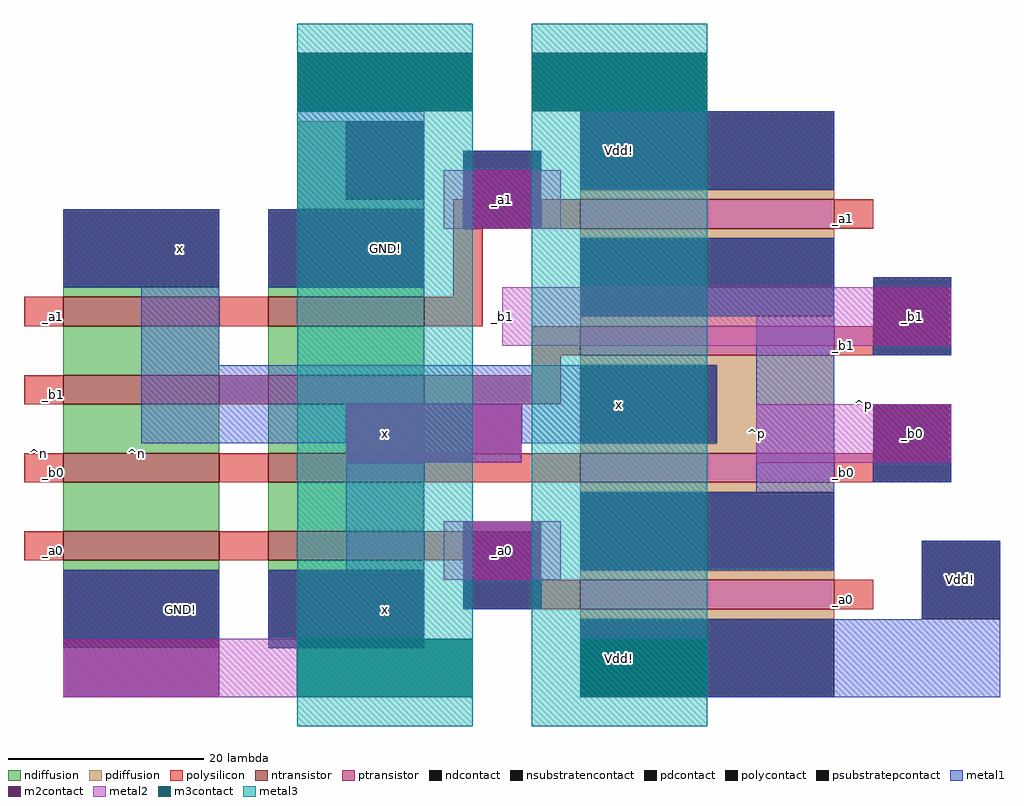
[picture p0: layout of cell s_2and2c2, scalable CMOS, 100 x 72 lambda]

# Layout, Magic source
magic
tech scmos
<< ndiffusion >>
rect -21 142 -16 150
rect -21 141 -8 142
rect -45 132 -29 133
rect -24 132 -8 133
rect -45 124 -29 129
rect -24 124 -8 129
rect -45 116 -29 121
rect -24 116 -8 121
rect -45 108 -29 113
rect -24 108 -8 113
rect -45 104 -29 105
rect -24 104 -8 105
<< pdiffusion >>
rect 8 142 34 143
rect 8 138 34 139
rect 8 129 34 130
rect 8 125 34 126
rect 22 117 34 125
rect 8 116 34 117
rect 8 112 34 113
rect 8 103 34 104
rect 8 99 34 100
<< ntransistor >>
rect -45 129 -29 132
rect -24 129 -8 132
rect -45 121 -29 124
rect -24 121 -8 124
rect -45 113 -29 116
rect -24 113 -8 116
rect -45 105 -29 108
rect -24 105 -8 108
<< ptransistor >>
rect 8 139 34 142
rect 8 126 34 129
rect 8 113 34 116
rect 8 100 34 103
<< polysilicon >>
rect -5 139 -4 142
rect 4 139 8 142
rect 34 139 38 142
rect -5 132 -2 139
rect -49 129 -45 132
rect -29 129 -24 132
rect -8 129 -2 132
rect 3 126 8 129
rect 34 126 38 129
rect 3 124 6 126
rect -49 121 -45 124
rect -29 121 -24 124
rect -8 121 6 124
rect -49 113 -45 116
rect -29 113 -24 116
rect -8 113 8 116
rect 34 113 38 116
rect -49 105 -45 108
rect -29 105 -24 108
rect -8 105 -4 108
rect 4 100 8 103
rect 34 100 38 103
<< ndcontact >>
rect -45 133 -29 141
rect -24 133 -8 141
rect -45 96 -29 104
rect -24 96 -8 104
<< pdcontact >>
rect 8 143 34 151
rect 8 130 34 138
rect 8 117 22 125
rect 8 104 34 112
rect 8 91 34 99
<< psubstratepcontact >>
rect -16 142 -8 150
<< nsubstratencontact >>
rect 43 99 51 107
<< polycontact >>
rect -4 139 4 147
rect 38 126 46 134
rect 38 113 46 121
rect -4 100 4 108
<< metal1 >>
rect -21 141 -8 151
rect -45 133 -29 141
rect -24 133 -8 141
rect -4 145 4 147
rect 8 143 34 151
rect -37 125 -29 133
rect 8 130 34 138
rect -37 121 22 125
rect -37 117 -16 121
rect 2 117 22 121
rect -16 104 -8 115
rect 26 112 34 130
rect 38 133 46 134
rect 38 126 46 127
rect 38 113 46 115
rect -45 97 -29 104
rect -24 96 -8 104
rect 8 104 34 112
rect -4 100 4 103
rect 43 99 51 107
rect 8 97 51 99
rect 21 91 51 97
<< m2contact >>
rect -21 151 -3 157
rect 3 151 21 157
rect -4 139 4 145
rect -16 115 2 121
rect 38 127 46 133
rect 38 115 46 121
rect -45 91 -29 97
rect -4 103 4 109
rect 8 91 21 97
<< metal2 >>
rect -6 139 6 145
rect 0 127 46 133
rect -16 115 2 121
rect 26 115 46 121
rect -6 103 6 109
rect -45 91 -21 97
<< m3contact >>
rect -21 151 -3 157
rect 3 151 21 157
rect -21 91 -3 97
rect 8 91 21 97
<< metal3 >>
rect -21 88 -3 160
rect 3 88 21 160
<< labels >>
rlabel metal1 12 121 12 121 1 x
rlabel metal1 -12 100 -12 100 1 x
rlabel metal1 -12 137 -12 137 5 GND!
rlabel metal1 12 147 12 147 5 Vdd!
rlabel m2contact 12 95 12 95 1 Vdd!
rlabel metal1 -33 137 -33 137 5 x
rlabel metal1 -33 100 -33 100 1 GND!
rlabel polysilicon -46 106 -46 106 3 _a0
rlabel polysilicon -46 130 -46 130 3 _a1
rlabel polysilicon -46 114 -46 114 3 _b0
rlabel polysilicon -46 122 -46 122 3 _b1
rlabel polysilicon 35 101 35 101 3 _a0
rlabel polysilicon 35 114 35 114 3 _b0
rlabel polysilicon 35 127 35 127 3 _b1
rlabel polysilicon 35 140 35 140 3 _a1
rlabel metal2 0 103 0 109 1 _a0
rlabel metal2 0 139 0 145 1 _a1
rlabel metal2 42 118 42 118 7 _b0
rlabel space -50 91 -45 141 7 ^n
rlabel space -51 90 -24 142 7 ^n
rlabel metal2 0 127 0 133 3 _b1
rlabel metal2 -12 118 -12 118 1 x
rlabel metal2 26 115 26 121 7 ^p
rlabel metal1 47 103 47 103 7 Vdd!
rlabel space 22 90 52 152 3 ^p
rlabel metal2 42 130 42 130 1 _b1
<< end >>
